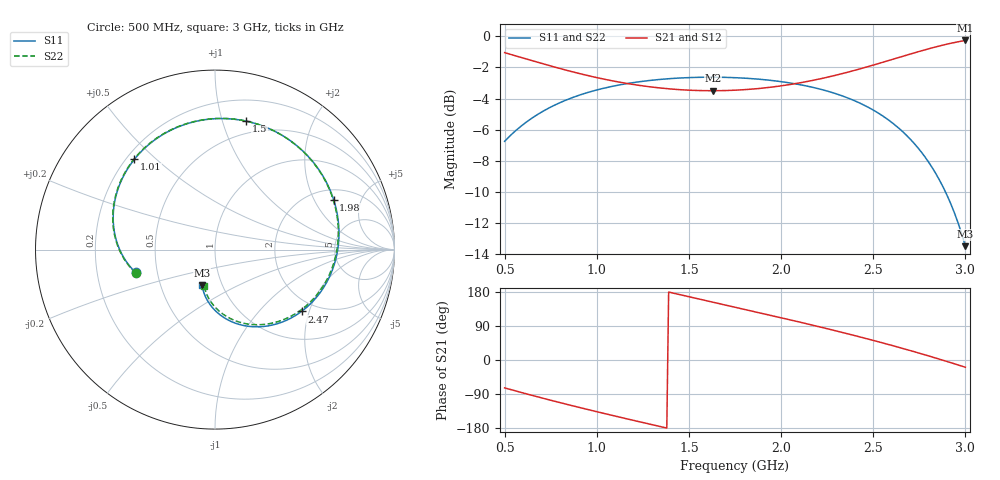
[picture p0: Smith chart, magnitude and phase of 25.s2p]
!freq-unit  param-type  data-format  keyword  impedance-ohms
# GHZ  S  RI  R  50
!Freq  ReS11  ImS11  ReS21  ImS21  ReS12  ImS12  ReS22  ImS22
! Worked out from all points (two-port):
!   251 points, 500 MHz to 3 GHz, reference 50 ohm
!   highest |S21| = -0.28 dB at 3 GHz (marker M1); lowest = -3.5 dB at 1.63 GHz (marker M2)
!   |S21| within 3 dB of the highest: start of sweep to 1.306 GHz; 1.944 GHz to end of sweep
!   lowest |S11| = -13.5 dB at 3 GHz (marker M3), VSWR 1.54, Z = 40.2 - j16.8 ohm
!   |S11| at or under -10 dB: 2.892 GHz to end of sweep
!   |S22| runs from -13.5 to -2.6 dB; largest |S21 - S12| = 0
!   S11 on the Smith chart (normalised r, x): 500 MHz: 0.38, -0.12; 1.01 GHz: 0.23, +0.43; 1.5 GHz: 0.38, +1.20; 1.98 GHz: 2.52, +2.89; 2.47 GHz: 1.68, -1.78; 3 GHz: 0.80, -0.34
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0.5  -0.442 -0.1273  0.2503 -0.8492  0.2503 -0.8492  -0.4408 -0.1313
0.6  -0.5198 -0.0238  0.0449 -0.8498  0.0449 -0.8498  -0.5195 -0.0295
0.71  -0.5633 0.1159  -0.158 -0.7994  -0.158 -0.7994  -0.5647 0.1086
0.81  -0.5615 0.2518  -0.3149 -0.7187  -0.3149 -0.7187  -0.5652 0.2434
0.92  -0.5163 0.3966  -0.4542 -0.6032  -0.4542 -0.6032  -0.523 0.3878
1.01  -0.4495 0.5028  -0.5423 -0.4949  -0.5423 -0.4949  -0.4588 0.4943
1.18  -0.2665 0.6548  -0.6476 -0.2724  -0.6476 -0.2724  -0.2807 0.6488
1.34  -0.0518 0.7244  -0.6799 -0.0574  -0.6799 -0.0574  -0.0698 0.7229
1.5  0.1746 0.7154  -0.654 0.1499  -0.654 0.1499  0.1546 0.72
1.63  0.3479 0.6515  -0.5942 0.3058  -0.5942 0.3058  0.328 0.6618
1.75  0.4866 0.5521  -0.5103 0.4355  -0.5103 0.4355  0.4684 0.5676
1.87  0.595 0.4203  -0.4007 0.5476  -0.4007 0.5476  0.5801 0.4407
1.98  0.6609 0.2785  -0.2791 0.6312  -0.2791 0.6312  0.6503 0.3026
2.08  0.6887 0.1393  -0.1522 0.688  -0.1522 0.688  0.6829 0.1657
2.17  0.6855 0.0118  -0.0259 0.7205  -0.0259 0.7205  0.6845 0.0393
2.33  0.612 -0.2002  0.2216 0.7247  0.2216 0.7247  0.6201 -0.1736
2.47  0.4821 -0.3445  0.4509 0.6584  0.4509 0.6584  0.4974 -0.3221
2.59  0.3353 -0.4164  0.6416 0.5381  0.6416 0.5381  0.3549 -0.3999
2.7  0.1895 -0.4278  0.7936 0.3706  0.7936 0.3706  0.2107 -0.4178
2.82  0.0453 -0.3759  0.9086 0.127  0.9086 0.127  0.065 -0.373
2.91  -0.0333 -0.2981  0.9415 -0.0886  0.9415 -0.0886  -0.0169 -0.2994
3  -0.0721 -0.1994  0.9154 -0.3171  0.9154 -0.3171  -0.0606 -0.2032
